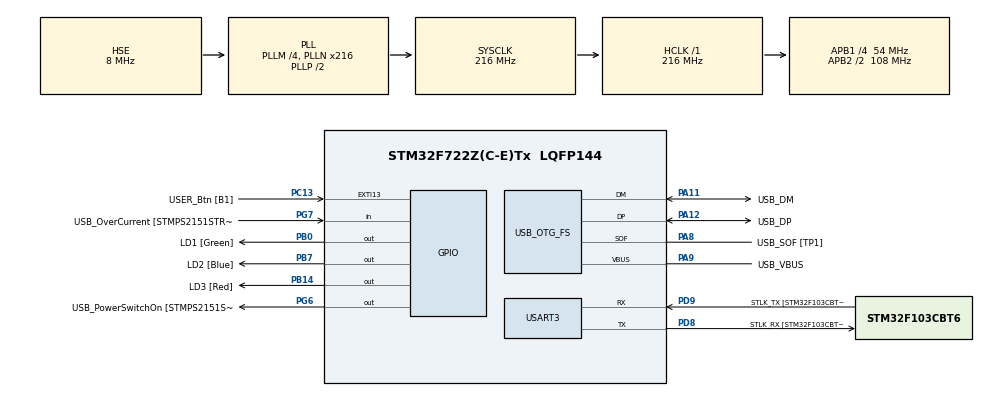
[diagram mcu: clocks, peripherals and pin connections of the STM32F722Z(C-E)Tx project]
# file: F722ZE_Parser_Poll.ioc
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Mcu.Family=STM32F7
Mcu.Name=STM32F722Z(C-E)Tx
Mcu.Package=LQFP144
NVIC.PriorityGroup=NVIC_PRIORITYGROUP_4
PA10.GPIO_Label=USB_ID
PA10.Signal=USB_OTG_FS_ID
PA11.GPIO_Label=USB_DM
PA11.Mode=Device_Only
PA11.Signal=USB_OTG_FS_DM
PA12.GPIO_Label=USB_DP
PA12.Mode=Device_Only
PA12.Signal=USB_OTG_FS_DP
PA13.GPIO_Label=TMS
PA13.Mode=Serial_Wire
PA13.Signal=SYS_JTMS-SWDIO
PA14.GPIO_Label=TCK
PA14.Mode=Serial_Wire
PA14.Signal=SYS_JTCK-SWCLK
PA8.GPIO_Label=USB_SOF [TP1]
PA8.Mode=Activate_SOF_FS
PA8.Signal=USB_OTG_FS_SOF
PA9.GPIO_Label=USB_VBUS
PA9.Mode=Activate_VBUS
PA9.Signal=USB_OTG_FS_VBUS
PB0.GPIO_Label=LD1 [Green]
PB0.Signal=GPIO_Output
PB14.GPIO_Label=LD3 [Red]
PB14.Signal=GPIO_Output
PB3.GPIO_Label=SWO
PB3.Signal=SYS_JTDO-SWO
PB7.GPIO_Label=LD2 [Blue]
PB7.Signal=GPIO_Output
PC13.GPIO_Label=USER_Btn [B1]
PC13.Signal=GPXTI13
PC14-OSC32_IN.Mode=LSE-External-Oscillator
PC14-OSC32_IN.Signal=RCC_OSC32_IN
PC15-OSC32_OUT.Mode=LSE-External-Oscillator
PC15-OSC32_OUT.Signal=RCC_OSC32_OUT
PD8.GPIO_Label=STLK_RX [STM32F103CBT6_PA3]
PD8.Mode=Asynchronous
PD8.Signal=USART3_TX
PD9.GPIO_Label=STLK_TX [STM32F103CBT6_PA2]
PD9.Mode=Asynchronous
PD9.Signal=USART3_RX
PG6.GPIO_Label=USB_PowerSwitchOn [STMPS2151STR_EN]
PG6.Signal=GPIO_Output
PG7.GPIO_Label=USB_OverCurrent [STMPS2151STR_FAULT]
PG7.Signal=GPIO_Input
PH0-OSC_IN.GPIO_Label=MCO
PH0-OSC_IN.Mode=HSE-External-Clock-Source
PH0-OSC_IN.Signal=RCC_OSC_IN
PH1-OSC_OUT.Mode=HSE-External-Clock-Source
PH1-OSC_OUT.Signal=RCC_OSC_OUT
ProjectManager.HeapSize=0x200
ProjectManager.StackSize=0x400
ProjectManager.TargetToolchain=STM32CubeIDE
RCC.48MHZClocksFreq_Value=24000000
RCC.AHBFreq_Value=216000000
RCC.APB1CLKDivider=RCC_HCLK_DIV4
RCC.APB1Freq_Value=54000000
RCC.APB1TimFreq_Value=108000000
RCC.APB2CLKDivider=RCC_HCLK_DIV2
RCC.APB2Freq_Value=108000000
RCC.APB2TimFreq_Value=216000000
RCC.CortexFreq_Value=216000000
RCC.HCLKFreq_Value=216000000
RCC.HSE_VALUE=8000000
RCC.HSI_VALUE=16000000
RCC.PLLM=4
RCC.PLLMUL=RCC_PLL_MUL9
RCC.PLLN=216
RCC.PLLQ=9
RCC.PRESCALERUSB=RCC_USBCLKSOURCE_PLL_DIV1_5
RCC.SYSCLKFreq_VALUE=216000000
RCC.SYSCLKSource=RCC_SYSCLKSOURCE_PLLCLK
RCC.SYSCLKSourceVirtual=RCC_SYSCLKSOURCE_PLLCLK
RCC.USBFreq_Value=48000000
RCC.VCOOutputFreq_Value=432000000
USART3.VirtualMode-Asynchronous=VM_ASYNC
USB_OTG_FS.VirtualMode=Device_Only
board=NUCLEO-F722ZE

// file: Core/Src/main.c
/* USER CODE BEGIN Header */
/**
  ******************************************************************************
  * @file           : main.c
  * @brief          : Main program body
  ******************************************************************************
  * @attention
  *
  * <h2><center>&copy; Copyright (c) 2021 STMicroelectronics.
  * All rights reserved.</center></h2>
  *
  * This software component is licensed by ST under BSD 3-Clause license,
  * the "License"; You may not use this file except in compliance with the
  * License. You may obtain a copy of the License at:
  *                        opensource.org/licenses/BSD-3-Clause
  *
  ******************************************************************************
  */
/* USER CODE END Header */
#include "main.h"
#include "usart.h"
#include "usb_otg.h"
#include "gpio.h"

/* USER CODE BEGIN Includes */
#include "fw_app.h"
/* USER CODE END Includes */

void SystemClock_Config(void);
/* USER CODE BEGIN PFP */
static void message_processing(void);
/* USER CODE END PFP */

int main(void)
{
  /* USER CODE BEGIN 1 */
  fw_app_init();
  /* USER CODE END 1 */

  /* MCU Configuration--------------------------------------------------------*/

  /* Reset of all peripherals, Initializes the Flash interface and the Systick. */
  HAL_Init();

  /* Configure the system clock */
  SystemClock_Config();

  /* Initialize all configured peripherals */
  MX_GPIO_Init();
  MX_USART3_UART_Init();
  MX_USB_OTG_FS_PCD_Init();
  /* USER CODE BEGIN 2 */
  fw_app_hw_init();
  /* USER CODE END 2 */

  /* Infinite loop */
  /* USER CODE BEGIN WHILE */
  while (1)
  {
    message_processing();
    /* USER CODE END WHILE */

  }
}

void SystemClock_Config(void)
{
  RCC_OscInitTypeDef RCC_OscInitStruct = {0};
  RCC_ClkInitTypeDef RCC_ClkInitStruct = {0};
  RCC_PeriphCLKInitTypeDef PeriphClkInitStruct = {0};

  /** Configure LSE Drive Capability
  */
  HAL_PWR_EnableBkUpAccess();
  /** Configure the main internal regulator output voltage
  */
  __HAL_RCC_PWR_CLK_ENABLE();
  __HAL_PWR_VOLTAGESCALING_CONFIG(PWR_REGULATOR_VOLTAGE_SCALE1);
  /** Initializes the RCC Oscillators according to the specified parameters
  * in the RCC_OscInitTypeDef structure.
  */
  RCC_OscInitStruct.OscillatorType = RCC_OSCILLATORTYPE_HSE;
  RCC_OscInitStruct.HSEState = RCC_HSE_BYPASS;
  RCC_OscInitStruct.PLL.PLLState = RCC_PLL_ON;
  RCC_OscInitStruct.PLL.PLLSource = RCC_PLLSOURCE_HSE;
  RCC_OscInitStruct.PLL.PLLM = 4;
  RCC_OscInitStruct.PLL.PLLN = 216;
  RCC_OscInitStruct.PLL.PLLP = RCC_PLLP_DIV2;
  RCC_OscInitStruct.PLL.PLLQ = 9;
  if (HAL_RCC_OscConfig(&RCC_OscInitStruct) != HAL_OK)
  {
    Error_Handler();
  }
  /** Activate the Over-Drive mode
  */
  if (HAL_PWREx_EnableOverDrive() != HAL_OK)
  {
    Error_Handler();
  }
  /** Initializes the CPU, AHB and APB buses clocks
  */
  RCC_ClkInitStruct.ClockType = RCC_CLOCKTYPE_HCLK|RCC_CLOCKTYPE_SYSCLK
                              |RCC_CLOCKTYPE_PCLK1|RCC_CLOCKTYPE_PCLK2;
  RCC_ClkInitStruct.SYSCLKSource = RCC_SYSCLKSOURCE_PLLCLK;
  RCC_ClkInitStruct.AHBCLKDivider = RCC_SYSCLK_DIV1;
  RCC_ClkInitStruct.APB1CLKDivider = RCC_HCLK_DIV4;
  RCC_ClkInitStruct.APB2CLKDivider = RCC_HCLK_DIV2;

  if (HAL_RCC_ClockConfig(&RCC_ClkInitStruct, FLASH_LATENCY_7) != HAL_OK)
  {
    Error_Handler();
  }
  PeriphClkInitStruct.PeriphClockSelection = RCC_PERIPHCLK_USART3|RCC_PERIPHCLK_CLK48;
  PeriphClkInitStruct.Usart3ClockSelection = RCC_USART3CLKSOURCE_PCLK1;
  PeriphClkInitStruct.Clk48ClockSelection = RCC_CLK48SOURCE_PLL;
  if (HAL_RCCEx_PeriphCLKConfig(&PeriphClkInitStruct) != HAL_OK)
  {
    Error_Handler();
  }
}

/* USER CODE BEGIN 4 */
#if FW_APP_PARSER == FW_APP_TXT_PARSER
static void message_processing(void)
{
  fl_status_t ret = 0;

  if (__HAL_UART_GET_FLAG(&huart3, UART_FLAG_RXNE))
  {
    HAL_UART_Receive(&huart3, g_app.proto_mgr.rx_buf, 1, FW_APP_PROTO_RX_TIMEOUT);
    ret = fl_txt_msg_parser_parse_command(&g_app.proto_mgr.parser_handle, g_app.proto_mgr.rx_buf[0], NULL);
    if ((ret == FL_OK) &&
        (g_app.proto_mgr.parser_handle.device_id == g_app.device_id))
    {
      g_app.proto_mgr.out_length = 0;
      switch (g_app.proto_mgr.parser_handle.msg_id)
      {
      case FL_MSG_ID_READ_HW_VERSION:
        // Version string.
        g_app.proto_mgr.out_length = sprintf((char*)g_app.proto_mgr.out_buf, "%s %ld,%d,%d.%d.%d%c",
            fl_txt_msg_get_message_name(g_app.proto_mgr.parser_handle.msg_id),
            g_app.proto_mgr.parser_handle.device_id,
            FL_OK,
            FW_APP_HW_MAJOR, FW_APP_HW_MINOR, FW_APP_HW_REVISION,
            FL_TXT_MSG_TAIL);
        break;

      case FL_MSG_ID_READ_FW_VERSION:
        // Version string.
        g_app.proto_mgr.out_length = sprintf((char*)g_app.proto_mgr.out_buf, "%s %ld,%d,%d.%d.%d%c",
            fl_txt_msg_get_message_name(g_app.proto_mgr.parser_handle.msg_id),
            g_app.proto_mgr.parser_handle.device_id,
            FL_OK,
            FW_APP_FW_MAJOR, FW_APP_FW_MINOR, FW_APP_FW_REVISION,
            FL_TXT_MSG_TAIL);
        break;

      case FL_MSG_ID_BOOT_MODE:
        if (g_app.proto_mgr.parser_handle.arg_count == 1)
        {
          g_app.proto_mgr.out_length = sprintf((char*)g_app.proto_mgr.out_buf, "%s %ld,%d%c",
                      fl_txt_msg_get_message_name(g_app.proto_mgr.parser_handle.msg_id),
                      g_app.proto_mgr.parser_handle.device_id,
                      FL_OK,
                      FL_TXT_MSG_TAIL);
        }

        if (g_app.proto_mgr.out_length == 0)
        {
          g_app.proto_mgr.out_length = sprintf((char*)g_app.proto_mgr.out_buf, "%s %ld,%d%c",
              fl_txt_msg_get_message_name(g_app.proto_mgr.parser_handle.msg_id),
              g_app.proto_mgr.parser_handle.device_id,
              FL_ERROR,
              FL_TXT_MSG_TAIL);
        }
        break;

      case FL_MSG_ID_RESET:
        g_app.proto_mgr.out_length = sprintf((char*)g_app.proto_mgr.out_buf, "%s %ld,%d%c",
                    fl_txt_msg_get_message_name(g_app.proto_mgr.parser_handle.msg_id),
                    g_app.proto_mgr.parser_handle.device_id,
                    FL_OK,
                    FL_TXT_MSG_TAIL);
        break;

      case FL_MSG_ID_READ_REGISTER:
        if (g_app.proto_mgr.parser_handle.arg_count == 1)
        {
          fl_read_reg_t* rreg = (fl_read_reg_t*)&(g_app.proto_mgr.parser_handle.payload);

          // TODO : Read a value from a register.
          g_app.proto_mgr.out_length = sprintf((char*)g_app.proto_mgr.out_buf, "%s %ld,%d,%ld,%d%c",
                      fl_txt_msg_get_message_name(g_app.proto_mgr.parser_handle.msg_id),
                      g_app.proto_mgr.parser_handle.device_id,
                      FL_OK,
                      rreg->address,
                      10,
                      FL_TXT_MSG_TAIL);
        }

        if (g_app.proto_mgr.out_length == 0)
        {
          g_app.proto_mgr.out_length = sprintf((char*)g_app.proto_mgr.out_buf, "%s %ld,%d%c",
              fl_txt_msg_get_message_name(g_app.proto_mgr.parser_handle.msg_id),
              g_app.proto_mgr.parser_handle.device_id,
              FL_ERROR,
              FL_TXT_MSG_TAIL);
        }
        break;

      case FL_MSG_ID_WRITE_REGISTER:
        if (g_app.proto_mgr.parser_handle.arg_count == 2)
        {
          fl_write_reg_t* wreg = (fl_write_reg_t*)&(g_app.proto_mgr.parser_handle.payload);
          // TODO : Write a value to a register.

          // For fail response test.
          if ((wreg->address == 3) &&
              (wreg->value == 4))
          {
            g_app.proto_mgr.out_length = sprintf((char*)g_app.proto_mgr.out_buf, "%s %ld,%d%c",
                fl_txt_msg_get_message_name(g_app.proto_mgr.parser_handle.msg_id),
                g_app.proto_mgr.parser_handle.device_id,
                FL_OK,
                FL_TXT_MSG_TAIL);
          }
        }

        if (g_app.proto_mgr.out_length == 0)
        {
          g_app.proto_mgr.out_length = sprintf((char*)g_app.proto_mgr.out_buf, "%s %ld,%d%c",
              fl_txt_msg_get_message_name(g_app.proto_mgr.parser_handle.msg_id),
              g_app.proto_mgr.parser_handle.device_id,
              FL_ERROR,
              FL_TXT_MSG_TAIL);
        }
        break;
      }

      if (g_app.proto_mgr.out_length > 0)
      {
        HAL_UART_Transmit(g_app.proto_mgr.uart_handle, g_app.proto_mgr.out_buf, g_app.proto_mgr.out_length, FW_APP_PROTO_TX_TIMEOUT);
      }
      g_app.proto_mgr.out_length = 0;

      fl_txt_msg_parser_clear(&g_app.proto_mgr.parser_handle);
    }
  }
}
#else
static void message_processing(void)
{
  fl_status_t ret = 0;

  if (__HAL_UART_GET_FLAG(&huart3, UART_FLAG_RXNE))
  {
    HAL_UART_Receive(&huart3, g_app.proto_mgr.rx_buf, 1, FW_APP_PROTO_RX_TIMEOUT);
    ret = fl_bin_msg_parser_parse(&g_app.proto_mgr.parser_handle, g_app.proto_mgr.rx_buf[0], NULL);
    if (ret == FL_OK)
    {
      fl_bin_msg_header_t*  header = (fl_bin_msg_header_t*)&g_app.proto_mgr.parser_handle.buf[1];
      fl_bin_msg_full_t*    rx_msg_full = (fl_bin_msg_full_t*)g_app.proto_mgr.parser_handle.buf;
      fl_bin_msg_full_t*    tx_msg_full = (fl_bin_msg_full_t*)g_app.proto_mgr.out_buf;
      if (header->device_id != g_app.device_id)
      {
        fl_bin_msg_parser_clear(&g_app.proto_mgr.parser_handle);
        return;
      }

      tx_msg_full->header.device_id = header->device_id;
      tx_msg_full->header.message_id = header->message_id;
      tx_msg_full->header.flag1.sequence_num = header->flag1.sequence_num;
      tx_msg_full->header.flag1.return_expected = FL_FALSE;
      tx_msg_full->header.error = FL_OK;

      g_app.proto_mgr.out_length = 0;

      switch (header->message_id)
      {
      case FL_MSG_ID_READ_HW_VERSION:
      {
        fl_hw_ver_resp_t* hw_ver = (fl_hw_ver_resp_t*)&(tx_msg_full->payload);
        sprintf(hw_ver->version, "%d.%d.%d", FW_APP_HW_MAJOR, FW_APP_HW_MINOR, FW_APP_HW_REVISION);
        g_app.proto_mgr.out_length = fl_bin_msg_build_response((uint8_t*)g_app.proto_mgr.out_buf, sizeof(g_app.proto_mgr.out_buf));
        break;
      }

      case FL_MSG_ID_READ_FW_VERSION:
      {
        fl_fw_ver_resp_t* fw_ver = (fl_fw_ver_resp_t*)&(tx_msg_full->payload);
        sprintf(fw_ver->version, "%d.%d.%d", FW_APP_FW_MAJOR, FW_APP_FW_MINOR, FW_APP_FW_REVISION);
        g_app.proto_mgr.out_length = fl_bin_msg_build_response((uint8_t*)g_app.proto_mgr.out_buf, sizeof(g_app.proto_mgr.out_buf));
        break;
      }

      case FL_MSG_ID_BOOT_MODE:
      {
        fl_boot_mode_t* bmode = (fl_boot_mode_t*)&(rx_msg_full->payload);
        if ((bmode->boot_mode != FL_BMODE_APP) &&
            (bmode->boot_mode != FL_BMODE_BOOTLOADER))
        {
          tx_msg_full->header.error = FL_ERROR;
        }
        g_app.proto_mgr.out_length = fl_bin_msg_build_response((uint8_t*)g_app.proto_mgr.out_buf, sizeof(g_app.proto_mgr.out_buf));
        break;
      }

      case FL_MSG_ID_RESET:
        g_app.proto_mgr.out_length = fl_bin_msg_build_response((uint8_t*)g_app.proto_mgr.out_buf, sizeof(g_app.proto_mgr.out_buf));
        break;

      case FL_MSG_ID_READ_REGISTER:
      {
        fl_read_reg_t* rreg = (fl_read_reg_t*)&(rx_msg_full->payload);
        // TODO : Check the validity of an address.
        fl_read_reg_resp_t* rreg_resp = (fl_read_reg_resp_t*)&(tx_msg_full->payload);
        rreg_resp->address = rreg->address;
        rreg_resp->value = 10;

        g_app.proto_mgr.out_length = fl_bin_msg_build_response((uint8_t*)g_app.proto_mgr.out_buf, sizeof(g_app.proto_mgr.out_buf));
        break;
      }

      case FL_MSG_ID_WRITE_REGISTER:
      {
        fl_write_reg_t* wreg = (fl_write_reg_t*)&(rx_msg_full->payload);
        // TODO : Check the validity of an address.
        // TODO : Check the validity of a value.

        // For fail response test.
        if ((wreg->address != 3) ||
            (wreg->value != 4))
        {
          tx_msg_full->header.error = FL_ERROR;
        }

        g_app.proto_mgr.out_length = fl_bin_msg_build_response((uint8_t*)g_app.proto_mgr.out_buf, sizeof(g_app.proto_mgr.out_buf));
        break;
      }
      }

      if (g_app.proto_mgr.out_length > 0)
      {
        HAL_UART_Transmit(g_app.proto_mgr.uart_handle, g_app.proto_mgr.out_buf, g_app.proto_mgr.out_length, FW_APP_PROTO_TX_TIMEOUT);
      }
      g_app.proto_mgr.out_length = 0;

      fl_bin_msg_parser_clear(&g_app.proto_mgr.parser_handle);
    }
  }
}
#endif
/* USER CODE END 4 */

void Error_Handler(void)
{
  __disable_irq();
  while (1)
  {
  }
}

/************************ (C) COPYRIGHT STMicroelectronics *****END OF FILE****/
